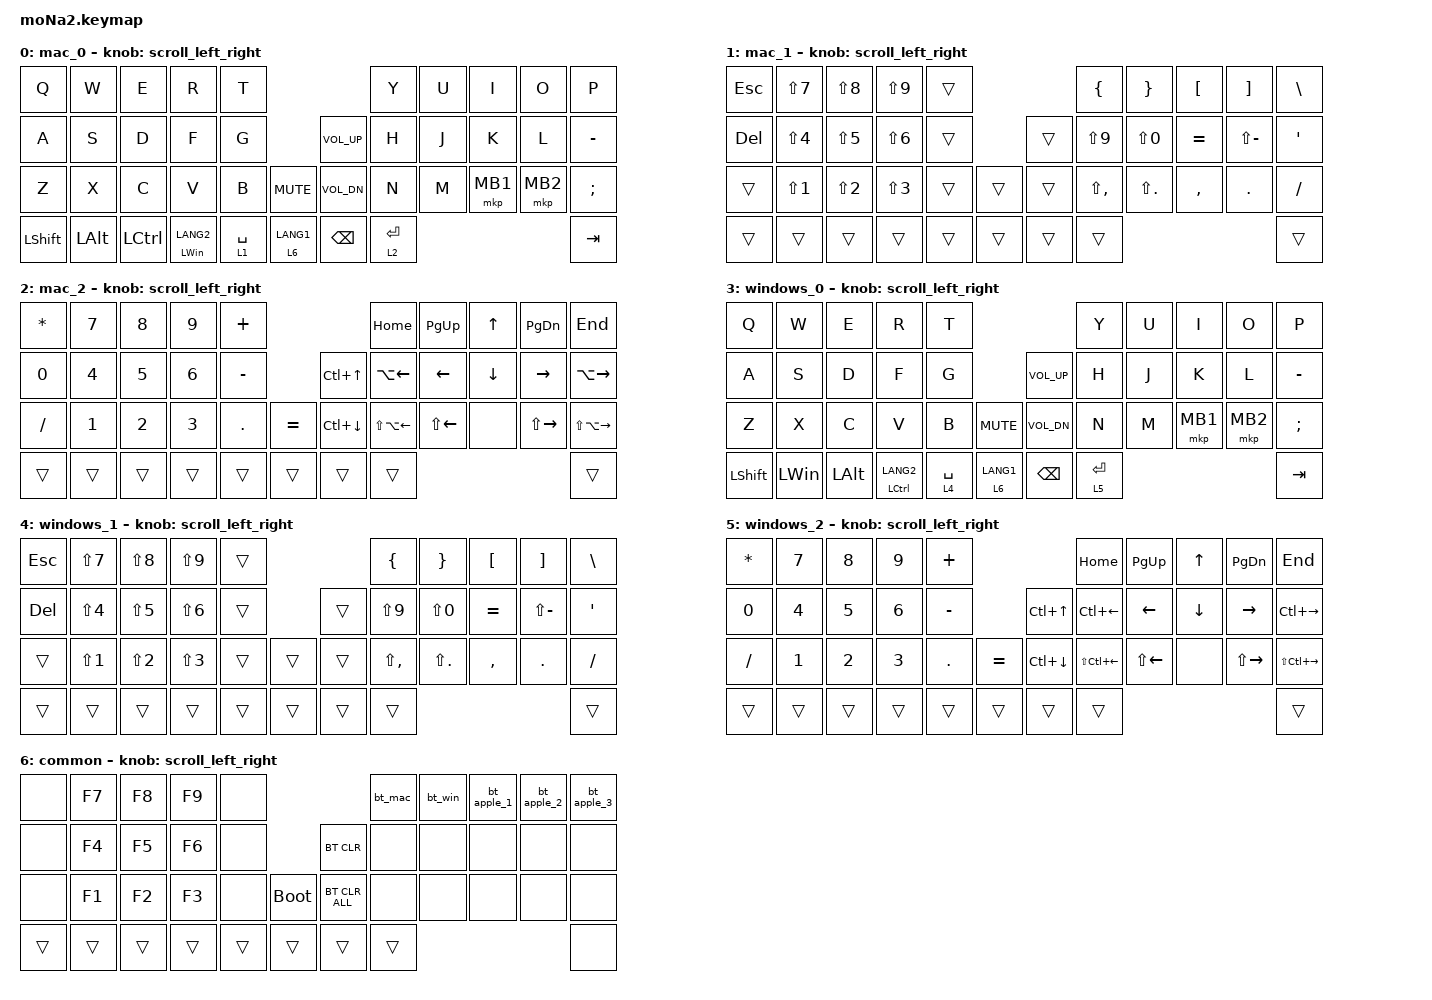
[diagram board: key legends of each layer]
#include <behaviors.dtsi>
#include <dt-bindings/zmk/bt.h>
#include <dt-bindings/zmk/keys.h>
#include <dt-bindings/zmk/pointing.h>

#define ZMK_POINTING_DEFAULT_SCRL_VAL 100
#define MOUSE 5
#define SCROLL 6

&mt {
    flavor = "balanced";
    quick-tap-ms = <0>;
};

/ {
    combos { compatible = "zmk,combos"; };

    macros {
        to_layer_0: to_layer_0 {
            compatible = "zmk,behavior-macro-one-param";
            #binding-cells = <1>;
            bindings = <&to 0 &macro_param_1to1 &kp MACRO_PLACEHOLDER>;
            label = "TO_LAYER_0";
        };

        bt_mac: bt0_to_layer0 {
            compatible = "zmk,behavior-macro";
            label = "BT0_TO_LAYER0";
            #binding-cells = <0>;
            bindings = <&bt BT_SEL 0 &to 0>, <&macro_wait_time 200>;
        };

        bt_win: bt1_to_layer4 {
            compatible = "zmk,behavior-macro";
            label = "BT1_TO_LAYER4";
            #binding-cells = <0>;
            bindings = <&bt BT_SEL 1 &to 3>, <&macro_wait_time 200>;
        };

        bt_apple_1: bt2_to_layer0 {
            compatible = "zmk,behavior-macro";
            label = "BT2_TO_LAYER0";
            #binding-cells = <0>;
            bindings = <&bt BT_SEL 2 &to 0>, <&macro_wait_time 200>;
        };

        bt_apple_2: bt3_to_layer0 {
            compatible = "zmk,behavior-macro";
            label = "BT3_TO_LAYER0";
            #binding-cells = <0>;
            bindings = <&bt BT_SEL 3 &to 0>, <&macro_wait_time 200>;
        };

        bt_apple_3: bt4_to_layer0 {
            compatible = "zmk,behavior-macro";
            label = "BT4_TO_LAYER0";
            #binding-cells = <0>;
            bindings = <&bt BT_SEL 4 &to 0>, <&macro_wait_time 200>;
        };
    };

    behaviors {
        lt_to_layer_0: lt_to_layer_0 {
            compatible = "zmk,behavior-hold-tap";
            label = "LAYER_TAP_TO_0";
            bindings = <&mo>, <&to_layer_0>;

            #binding-cells = <2>;
            tapping-term-ms = <200>;
        };

        scroll_up_down: behavior_sensor_rotate_mouse_wheel_up_down {
            compatible = "zmk,behavior-sensor-rotate";
            #sensor-binding-cells = <0>;
            bindings = <&msc SCRL_UP>, <&msc SCRL_DOWN>;

            tap-ms = <20>;
        };

        scroll_left_right: behavior_sensor_rotate_mouse_wheel_left_right {
            compatible = "zmk,behavior-sensor-rotate";
            #sensor-binding-cells = <0>;
            bindings = <&msc SCRL_LEFT>, <&msc SCRL_RIGHT>;

            tap-ms = <20>;
        };
    };

    keymap {
        compatible = "zmk,keymap";

        mac_0 {
            bindings = <
&kp Q           &kp W         &kp E      &kp R               &kp T                                      &kp Y        &kp U  &kp I     &kp O     &kp P
&kp A           &kp S         &kp D      &kp F               &kp G                       &kp C_VOL_UP   &kp H        &kp J  &kp K     &kp L     &kp MINUS
&kp Z           &kp X         &kp C      &kp V               &kp B        &kp C_MUTE     &kp C_VOL_DN   &kp N        &kp M  &mkp MB1  &mkp MB2  &kp SEMICOLON
&kp LEFT_SHIFT  &kp LEFT_ALT  &kp LCTRL  &mt LEFT_WIN LANG2  &lt 1 SPACE  &lt 6 LANG1    &kp BACKSPACE  &lt 2 ENTER                             &kp TAB
            >;

            sensor-bindings = <&scroll_left_right>;
        };

        mac_1 {
            bindings = <
&kp ESCAPE  &kp LS(N7)  &kp LS(N8)  &kp LS(N9)  &trans                    &kp LEFT_BRACE  &kp RIGHT_BRACE  &kp LEFT_BRACKET  &kp RIGHT_BRACKET  &kp BACKSLASH
&kp DELETE  &kp LS(N4)  &kp LS(N5)  &kp LS(N6)  &trans            &trans  &kp LS(N9)      &kp LS(N0)       &kp EQUAL         &kp LS(MINUS)      &kp SINGLE_QUOTE
&trans      &kp LS(N1)  &kp LS(N2)  &kp LS(N3)  &trans  &trans    &trans  &kp LS(COMMA)   &kp LS(DOT)      &kp COMMA         &kp DOT            &kp SLASH
&trans      &trans      &trans      &trans      &trans  &trans    &trans  &trans                                                                &trans
            >;

            sensor-bindings = <&scroll_left_right>;
        };

        mac_2 {
            bindings = <
&kp ASTERISK  &kp N7  &kp N8  &kp N9  &kp PLUS                                     &kp HOME                &kp PAGE_UP         &kp UP_ARROW    &kp PAGE_DOWN        &kp END
&kp N0        &kp N4  &kp N5  &kp N6  &kp MINUS                &kp LC(UP_ARROW)    &kp LA(LEFT_ARROW)      &kp LEFT_ARROW      &kp DOWN_ARROW  &kp RIGHT_ARROW      &kp LA(RIGHT_ARROW)
&kp SLASH     &kp N1  &kp N2  &kp N3  &kp PERIOD  &kp EQUAL    &kp LC(DOWN_ARROW)  &kp LS(LA(LEFT_ARROW))  &kp LS(LEFT_ARROW)  &none           &kp LS(RIGHT_ARROW)  &kp LS(LA(RIGHT_ARROW))
&trans        &trans  &trans  &trans  &trans      &trans       &trans              &trans                                                                           &trans
            >;

            sensor-bindings = <&scroll_left_right>;
        };

        windows_0 {
            bindings = <
&kp Q           &kp W         &kp E         &kp R            &kp T                                      &kp Y        &kp U  &kp I     &kp O     &kp P
&kp A           &kp S         &kp D         &kp F            &kp G                       &kp C_VOL_UP   &kp H        &kp J  &kp K     &kp L     &kp MINUS
&kp Z           &kp X         &kp C         &kp V            &kp B        &kp C_MUTE     &kp C_VOL_DN   &kp N        &kp M  &mkp MB1  &mkp MB2  &kp SEMICOLON
&kp LEFT_SHIFT  &kp LEFT_WIN  &kp LEFT_ALT  &mt LCTRL LANG2  &lt 4 SPACE  &lt 6 LANG1    &kp BACKSPACE  &lt 5 ENTER                             &kp TAB
            >;

            sensor-bindings = <&scroll_left_right>;
        };

        windows_1 {
            bindings = <
&kp ESCAPE  &kp LS(N7)  &kp LS(N8)  &kp LS(N9)  &trans                    &kp LEFT_BRACE  &kp RIGHT_BRACE  &kp LEFT_BRACKET  &kp RIGHT_BRACKET  &kp BACKSLASH
&kp DELETE  &kp LS(N4)  &kp LS(N5)  &kp LS(N6)  &trans            &trans  &kp LS(N9)      &kp LS(N0)       &kp EQUAL         &kp LS(MINUS)      &kp SINGLE_QUOTE
&trans      &kp LS(N1)  &kp LS(N2)  &kp LS(N3)  &trans  &trans    &trans  &kp LS(COMMA)   &kp LS(DOT)      &kp COMMA         &kp DOT            &kp SLASH
&trans      &trans      &trans      &trans      &trans  &trans    &trans  &trans                                                                &trans
            >;

            sensor-bindings = <&scroll_left_right>;
        };

        windows_2 {
            bindings = <
&kp ASTERISK  &kp N7  &kp N8  &kp N9  &kp PLUS                                     &kp HOME                &kp PAGE_UP         &kp UP_ARROW    &kp PAGE_DOWN        &kp END
&kp N0        &kp N4  &kp N5  &kp N6  &kp MINUS                &kp LC(UP_ARROW)    &kp LC(LEFT_ARROW)      &kp LEFT_ARROW      &kp DOWN_ARROW  &kp RIGHT_ARROW      &kp LC(RIGHT_ARROW)
&kp SLASH     &kp N1  &kp N2  &kp N3  &kp PERIOD  &kp EQUAL    &kp LC(DOWN_ARROW)  &kp LS(LC(LEFT_ARROW))  &kp LS(LEFT_ARROW)  &none           &kp LS(RIGHT_ARROW)  &kp LS(LC(RIGHT_ARROW))
&trans        &trans  &trans  &trans  &trans      &trans       &trans              &trans                                                                           &trans
            >;

            sensor-bindings = <&scroll_left_right>;
        };

        common {
            bindings = <
&none   &kp F7  &kp F8  &kp F9  &none                                  &bt_mac  &bt_win  &bt_apple_1  &bt_apple_2  &bt_apple_3
&none   &kp F4  &kp F5  &kp F6  &none                  &bt BT_CLR      &none    &none    &none        &none        &none
&none   &kp F1  &kp F2  &kp F3  &none   &bootloader    &bt BT_CLR_ALL  &none    &none    &none        &none        &none
&trans  &trans  &trans  &trans  &trans  &trans         &trans          &trans                                      &none
            >;

            sensor-bindings = <&scroll_left_right>;
        };
    };
};
